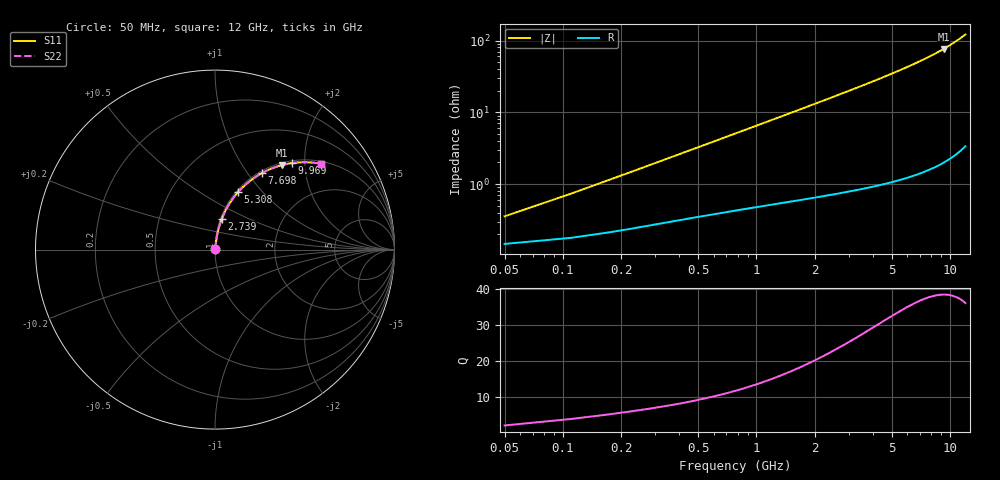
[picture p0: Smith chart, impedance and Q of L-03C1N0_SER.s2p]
! L-03C1N0
! Data taken by Rita
! Created Thu Jun 15 16:17:23 2006
# hz S ma R 50
! 2 Port Network Data from SP1.SP block
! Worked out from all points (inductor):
!   201 points, 50 MHz to 12 GHz, reference 50 ohm
!   read as one part in series: L = 1.03 nH near 109.8 MHz
!   highest Q = 38.4 at 9.252 GHz (marker M1), where L = 1.31 nH
!   S11 on the Smith chart (normalised r, x): 50 MHz: 1.00, +0.01; 2.739 GHz: 1.02, +0.36; 5.308 GHz: 1.02, +0.74; 7.698 GHz: 1.03, +1.17; 9.969 GHz: 1.04, +1.72; 12 GHz: 1.07, +2.43
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5e7  0.003546 65.5  0.9985 -0.2  0.9985 -0.2  0.003546 65.5
1.0975e8  0.00731 75.5  0.9982 -0.4  0.9982 -0.4  0.00731 75.5
1.695e8  0.01115 78.5  0.9978 -0.6  0.9978 -0.6  0.01115 78.5
2.2925e8  0.01499 79.9  0.9975 -0.8  0.9975 -0.8  0.01499 79.9
2.89e8  0.01885 80.8  0.9971 -1.1  0.9971 -1.1  0.01885 80.8
3.4875e8  0.02269 81.3  0.9968 -1.3  0.9968 -1.3  0.02269 81.3
4.085e8  0.02654 81.7  0.9965 -1.5  0.9965 -1.5  0.02654 81.7
5.28e8  0.03424 82.1  0.9959 -2.0  0.9959 -2.0  0.03424 82.1
7.67e8  0.04962 82.3  0.9946 -2.8  0.9946 -2.8  0.04962 82.3
1.1255e9  0.07268 81.9  0.9924 -4.2  0.9924 -4.2  0.07268 81.9
1.5438e9  0.0996 81.0  0.9893 -5.7  0.9893 -5.7  0.0996 81.0
2.0815e9  0.1342 79.5  0.9845 -7.7  0.9845 -7.7  0.1342 79.5
2.7388e9  0.1766 77.5  0.977 -10.2  0.977 -10.2  0.1766 77.5
4.0533e9  0.2617 72.9  0.9563 -15.2  0.9563 -15.2  0.2617 72.9
5.308e9  0.3434 68.2  0.9289 -20.1  0.9289 -20.1  0.3434 68.2
6.025e9  0.3902 65.4  0.9096 -23.0  0.9096 -23.0  0.3902 65.4
7.698e9  0.4992 58.5  0.8533 -29.9  0.8533 -29.9  0.4992 58.5
8.0565e9  0.5223 57.0  0.8391 -31.5  0.8391 -31.5  0.5223 57.0
9.2515e9  0.5986 51.8  0.7857 -36.8  0.7857 -36.8  0.5986 51.8
9.9685e9  0.6431 48.5  0.7491 -40.0  0.7491 -40.0  0.6431 48.5
1.0028e10  0.6468 48.2  0.7459 -40.3  0.7459 -40.3  0.6468 48.2
1.2e10  0.7615 38.8  0.6275 -49.6  0.6275 -49.6  0.7615 38.8
